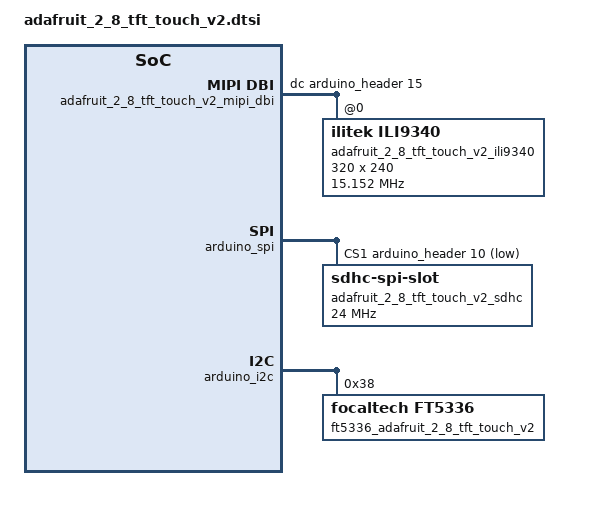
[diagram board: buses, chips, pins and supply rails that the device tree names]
/*
 * Copyright (c) 2019 PHYTEC Messtechnik GmbH
 *
 * SPDX-License-Identifier: Apache-2.0
 */

#include <zephyr/dt-bindings/display/ili9xxx.h>

/ {
	chosen {
		zephyr,display = &adafruit_2_8_tft_touch_v2_ili9340;
	};

	lvgl_pointer {
		compatible = "zephyr,lvgl-pointer-input";
		input = <&ft5336_adafruit_2_8_tft_touch_v2>;
		swap-xy;
		invert-x;
		invert-y;
	};

	adafruit_2_8_tft_touch_v2_mipi_dbi {
		compatible = "zephyr,mipi-dbi-spi";
		spi-dev = <&arduino_spi>;
		dc-gpios = <&arduino_header 15 GPIO_ACTIVE_HIGH>;	/* D9 */
		write-only;
		#address-cells = <1>;
		#size-cells = <0>;

		adafruit_2_8_tft_touch_v2_ili9340: ili9340@0 {
			compatible = "ilitek,ili9340";
			mipi-max-frequency = <15151515>;
			reg = <0>;
			width = <320>;
			height = <240>;
			pixel-format = <ILI9XXX_PIXEL_FORMAT_RGB888>;
			rotation = <90>;
			frmctr1 = [00 18];
			pwctrl1 = [23 00];
			vmctrl1 = [3e 28];
			vmctrl2 = [86];
			pgamctrl = [0f 31 2b 0c 0e 08 4e f1 37 07 10 03 0e 09 00];
			ngamctrl = [00 0e 14 03 11 07 31 c1 48 08 0f 0c 31 36 0f];
		};
	};
};

&arduino_spi {
	status = "okay";
	cs-gpios = <&arduino_header 16 GPIO_ACTIVE_LOW>,	/* D10 */
		   <&arduino_header 10 GPIO_ACTIVE_LOW>;	/* D04 */

	adafruit_2_8_tft_touch_v2_sdhc: sdhc@1 {
		compatible = "zephyr,sdhc-spi-slot";
		reg = <1>;
		status = "okay";
		spi-max-frequency = <24000000>;
		mmc {
			compatible = "zephyr,sdmmc-disk";
			status = "okay";
		};
	};
};

&arduino_i2c {
	ft5336_adafruit_2_8_tft_touch_v2: ft5336@38 {
		compatible = "focaltech,ft5336";
		reg = <0x38>;
		/* Uncomment if IRQ line is available (requires to solder jumper) */
		/* int-gpios = <&arduino_header 13 GPIO_ACTIVE_LOW>; */ /* D7 */
	};
};
